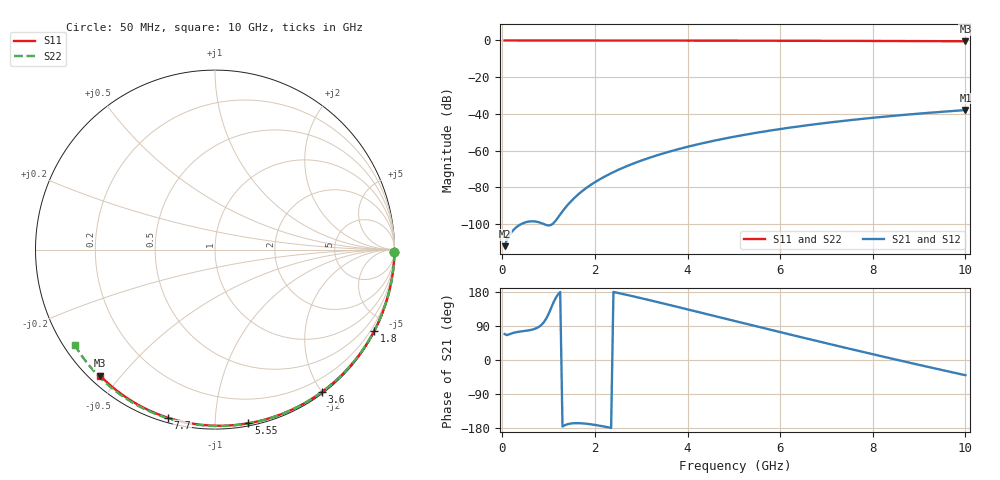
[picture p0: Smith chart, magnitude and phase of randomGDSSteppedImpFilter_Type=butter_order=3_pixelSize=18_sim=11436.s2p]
! freq	dB(S11)	phase(S11)	dB(S12)	phase(S12)
!  dB(S21)	phase(S21)	dB(S22)	phase(S22)
!S-par simulation data
#  GHz  S  DB  R 50
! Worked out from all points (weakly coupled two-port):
!   200 points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, 50 MHz to 10 GHz, reference 50 ohm
!   highest |S21| = -37.89 dB at 10 GHz (marker M1); lowest = -112.0 dB at 50 MHz (marker M2)
!   lowest |S11| = -0.4 dB at 10 GHz (marker M3), VSWR 38.89, Z = 1.54 - j22.1 ohm
!   |S11| at or under -10 dB: nowhere
!   |S22| runs from -0.5 to 0.0 dB; largest |S21 - S12| = 0
!   S11 on the Smith chart (normalised r, x): 50 MHz: open; 1.8 GHz: 0.04, -4.15; 3.6 GHz: 0.02, -2.01; 5.55 GHz: 0.02, -1.21; 7.7 GHz: 0.02, -0.76; 10 GHz: 0.03, -0.44
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0.05  -0.00 -0.8  -111.96 68.5  -111.96 68.5  -0.00 -0.8
0.45  -0.01 -6.9  -99.43 76.1  -99.43 76.1  -0.01 -7.6
0.85  -0.02 -12.9  -99.47 93.3  -99.47 93.3  -0.02 -14.3
1.3  -0.02 -19.7  -93.01 -175.5  -93.01 -175.5  -0.03 -21.7
1.75  -0.03 -26.4  -81.51 -167.4  -81.51 -167.4  -0.04 -29.0
1.8  -0.03 -27.1  -80.55 -168.0  -80.55 -168.0  -0.04 -29.9
1.85  -0.04 -27.8  -79.65 -168.7  -79.65 -168.7  -0.04 -30.7
2.05  -0.04 -30.8  -76.37 -172.3  -76.37 -172.3  -0.04 -33.9
2.25  -0.04 -33.7  -73.55 -176.8  -73.55 -176.8  -0.05 -37.1
2.55  -0.05 -38.1  -69.90 175.6  -69.90 175.6  -0.05 -41.9
2.95  -0.06 -43.8  -65.84 164.5  -65.84 164.5  -0.06 -48.2
3.4  -0.07 -50.2  -62.04 151.5  -62.04 151.5  -0.07 -55.2
3.6  -0.07 -53.0  -60.55 145.6  -60.55 145.6  -0.08 -58.2
4.3  -0.09 -62.6  -56.07 124.6  -56.07 124.6  -0.10 -68.7
5.05  -0.11 -72.6  -52.18 102.0  -52.18 102.0  -0.12 -79.7
5.55  -0.13 -79.2  -49.98 87.0  -49.98 87.0  -0.14 -86.8
6.1  -0.15 -86.2  -47.84 70.6  -47.84 70.6  -0.17 -94.4
6.7  -0.18 -93.6  -45.78 52.9  -45.78 52.9  -0.20 -102.5
7.7  -0.24 -105.7  -42.86 23.8  -42.86 23.8  -0.27 -115.8
8.35  -0.29 -113.3  -41.24 5.3  -41.24 5.3  -0.32 -124.2
9.2  -0.36 -123.1  -39.40 -18.4  -39.40 -18.4  -0.40 -135.3
10  -0.45 -132.2  -37.89 -40.1  -37.89 -40.1  -0.49 -145.8
